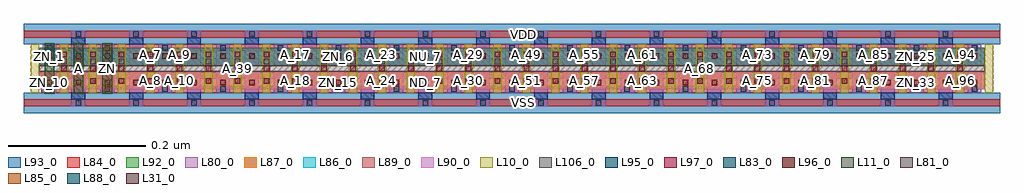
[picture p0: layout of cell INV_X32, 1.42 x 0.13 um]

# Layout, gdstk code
import gdstk
lib = gdstk.Library(unit=1e-6, precision=1e-09)
def R(c, l, rs):  # rectangles x0, y0, x1, y1
    for r in rs: c.add(gdstk.rectangle(r[:2], r[2:], *l))
def A(c, l, x, y, w, h, nx, ny, dx, dy):  # array of equal rectangles
    R(c, l, [(x+i*dx, y+j*dy, x+i*dx+w, y+j*dy+h) for i in range(nx) for j in range(ny)])
L10_0 = (10, 0)
L11_0 = (11, 0)
L31_0 = (31, 0)
L80_0 = (80, 0)
L81_0 = (81, 0)
L83_0 = (83, 0)
L84_0 = (84, 0)
L85_0 = (85, 0)
L86_0 = (86, 0)
L87_0 = (87, 0)
L88_0 = (88, 0)
L89_0 = (89, 0)
L90_0 = (90, 0)
L92_0 = (92, 0)
L93_0 = (93, 0)
L95_0 = (95, 0)
L96_0 = (96, 0)
L97_0 = (97, 0)
L106_0 = (106, 0)

inv_x32 = lib.new_cell('INV_X32')
A(inv_x32, L10_0, 0.034, 0.077, 0.012, 0.07, 34, 1, 0.042, 0)
A(inv_x32, L11_0, 0.054, 0.075, 0.014, 0.074, 3, 1, 0.042, 0)
R(inv_x32, L31_0, [(0.099,0.108,0.107,0.116), (0.141,0.108,0.149,0.116)])
A(inv_x32, L80_0, 0.093, 0.057, 0.02, 0.05, 16, 2, 0.084, 0.06)
A(inv_x32, L80_0, 0.051, 0.077, 0.02, 0.03, 17, 2, 0.084, 0.04)
A(inv_x32, L81_0, 0.078, 0.118, 0.008, 0.008, 32, 1, 0.042, 0)
A(inv_x32, L83_0, 0.099, 0.058, 0.008, 0.008, 16, 2, 0.084, 0.1)
A(inv_x32, L83_0, 0.057, 0.078, 0.008, 0.008, 10, 1, 0.084, 0)
A(inv_x32, L83_0, 0.981, 0.078, 0.008, 0.008, 6, 1, 0.084, 0)
A(inv_x32, L83_0, 0.057, 0.138, 0.008, 0.008, 17, 1, 0.084, 0)
R(inv_x32, L83_0, [(0.896,0.078,0.904,0.086)])
R(inv_x32, L84_0, [(0.024,0.057,1.442,0.067), (0.049,0.077,1.41,0.087), (0.049,0.097,1.41,0.107), (0.056,0.117,1.41,0.127), (0.056,0.137,1.41,0.147), (0.024,0.157,1.442,0.167)])
R(inv_x32, L85_0, [(0.141,0.078,0.149,0.086), (0.099,0.118,0.107,0.126), (0.141,0.138,0.149,0.146)])
R(inv_x32, L86_0, [(0.046,0.115,1.42,0.142)])
R(inv_x32, L87_0, [(0.046,0.082,1.42,0.109)])
R(inv_x32, L88_0, [(0.746,0.058,0.754,0.066), (0.746,0.158,0.754,0.166)])
R(inv_x32, L89_0, [(0.046,0.115,1.42,0.142)])
R(inv_x32, L90_0, [(0.046,0.082,1.42,0.109)])
R(inv_x32, L92_0, [(0.047,0.084,1.419,0.107), (0.047,0.117,1.419,0.14)])
R(inv_x32, L93_0, [(0.024,0.047,1.442,0.077), (0.024,0.147,1.442,0.177)])
A(inv_x32, L95_0, 0.093, 0.067, 0.02, 0.01, 16, 2, 0.084, 0.08)
A(inv_x32, L96_0, 0.057, 0.088, 0.008, 0.008, 33, 2, 0.042, 0.038)
A(inv_x32, L97_0, 0.078, 0.09, 0.008, 0.008, 32, 2, 0.042, 0.018)
A(inv_x32, L97_0, 0.078, 0.128, 0.008, 0.008, 32, 1, 0.042, 0)
R(inv_x32, L106_0, [(0.046,0.107,1.42,0.117)])
inv_x32.add(gdstk.Label('VSS', (0.75,0.062), layer=88, texttype=0))
inv_x32.add(gdstk.Label('VDD', (0.75,0.162), layer=88, texttype=0))
inv_x32.add(gdstk.Label('A', (0.103,0.112), layer=31, texttype=0))
inv_x32.add(gdstk.Label('ZN', (0.145,0.112), layer=31, texttype=0))
inv_x32.add(gdstk.Label('A_68', (1.006,0.112), layer=97, texttype=0))
inv_x32.add(gdstk.Label('A_69', (1.006,0.094), layer=97, texttype=0))
inv_x32.add(gdstk.Label('A_57', (0.838,0.094), layer=97, texttype=0))
inv_x32.add(gdstk.Label('A_56', (0.838,0.112), layer=97, texttype=0))
inv_x32.add(gdstk.Label('A_55', (0.838,0.132), layer=97, texttype=0))
inv_x32.add(gdstk.Label('A_60', (0.88,0.094), layer=97, texttype=0))
inv_x32.add(gdstk.Label('A_59', (0.88,0.112), layer=97, texttype=0))
inv_x32.add(gdstk.Label('A_58', (0.88,0.132), layer=97, texttype=0))
inv_x32.add(gdstk.Label('A_52', (0.796,0.132), layer=97, texttype=0))
inv_x32.add(gdstk.Label('A_53', (0.796,0.112), layer=97, texttype=0))
inv_x32.add(gdstk.Label('A_54', (0.796,0.094), layer=97, texttype=0))
inv_x32.add(gdstk.Label('A_49', (0.754,0.132), layer=97, texttype=0))
inv_x32.add(gdstk.Label('A_50', (0.754,0.112), layer=97, texttype=0))
inv_x32.add(gdstk.Label('A_51', (0.754,0.094), layer=97, texttype=0))
inv_x32.add(gdstk.Label('A_87', (1.258,0.094), layer=97, texttype=0))
inv_x32.add(gdstk.Label('A_86', (1.258,0.112), layer=97, texttype=0))
inv_x32.add(gdstk.Label('A_85', (1.258,0.132), layer=97, texttype=0))
inv_x32.add(gdstk.Label('A_90', (1.3,0.094), layer=97, texttype=0))
inv_x32.add(gdstk.Label('A_89', (1.3,0.112), layer=97, texttype=0))
inv_x32.add(gdstk.Label('A_88', (1.3,0.132), layer=97, texttype=0))
inv_x32.add(gdstk.Label('A_94', (1.384,0.132), layer=97, texttype=0))
inv_x32.add(gdstk.Label('A_95', (1.384,0.112), layer=97, texttype=0))
inv_x32.add(gdstk.Label('A_96', (1.384,0.094), layer=97, texttype=0))
inv_x32.add(gdstk.Label('A_91', (1.342,0.132), layer=97, texttype=0))
inv_x32.add(gdstk.Label('A_92', (1.342,0.112), layer=97, texttype=0))
inv_x32.add(gdstk.Label('A_93', (1.342,0.094), layer=97, texttype=0))
inv_x32.add(gdstk.Label('A_81', (1.174,0.094), layer=97, texttype=0))
inv_x32.add(gdstk.Label('A_80', (1.174,0.112), layer=97, texttype=0))
inv_x32.add(gdstk.Label('A_79', (1.174,0.132), layer=97, texttype=0))
inv_x32.add(gdstk.Label('A_84', (1.216,0.094), layer=97, texttype=0))
inv_x32.add(gdstk.Label('A_83', (1.216,0.112), layer=97, texttype=0))
inv_x32.add(gdstk.Label('A_82', (1.216,0.132), layer=97, texttype=0))
inv_x32.add(gdstk.Label('A_76', (1.132,0.132), layer=97, texttype=0))
inv_x32.add(gdstk.Label('A_77', (1.132,0.112), layer=97, texttype=0))
inv_x32.add(gdstk.Label('A_78', (1.132,0.094), layer=97, texttype=0))
inv_x32.add(gdstk.Label('A_73', (1.09,0.132), layer=97, texttype=0))
inv_x32.add(gdstk.Label('A_74', (1.09,0.112), layer=97, texttype=0))
inv_x32.add(gdstk.Label('A_75', (1.09,0.094), layer=97, texttype=0))
inv_x32.add(gdstk.Label('A_67', (1.006,0.132), layer=97, texttype=0))
inv_x32.add(gdstk.Label('A_72', (1.048,0.094), layer=97, texttype=0))
inv_x32.add(gdstk.Label('A_71', (1.048,0.112), layer=97, texttype=0))
inv_x32.add(gdstk.Label('A_70', (1.048,0.132), layer=97, texttype=0))
inv_x32.add(gdstk.Label('A_64', (0.964,0.132), layer=97, texttype=0))
inv_x32.add(gdstk.Label('A_65', (0.964,0.112), layer=97, texttype=0))
inv_x32.add(gdstk.Label('A_66', (0.964,0.094), layer=97, texttype=0))
inv_x32.add(gdstk.Label('A_61', (0.922,0.132), layer=97, texttype=0))
inv_x32.add(gdstk.Label('A_62', (0.922,0.112), layer=97, texttype=0))
inv_x32.add(gdstk.Label('A_63', (0.922,0.094), layer=97, texttype=0))
inv_x32.add(gdstk.Label('A_39', (0.334,0.112), layer=97, texttype=0))
inv_x32.add(gdstk.Label('A_14', (0.334,0.094), layer=97, texttype=0))
inv_x32.add(gdstk.Label('A_6', (0.166,0.094), layer=97, texttype=0))
inv_x32.add(gdstk.Label('A_35', (0.166,0.112), layer=97, texttype=0))
inv_x32.add(gdstk.Label('A_5', (0.166,0.132), layer=97, texttype=0))
inv_x32.add(gdstk.Label('A_8', (0.208,0.094), layer=97, texttype=0))
inv_x32.add(gdstk.Label('A_36', (0.208,0.112), layer=97, texttype=0))
inv_x32.add(gdstk.Label('A_10', (0.25,0.094), layer=97, texttype=0))
inv_x32.add(gdstk.Label('A_37', (0.25,0.112), layer=97, texttype=0))
inv_x32.add(gdstk.Label('A_9', (0.25,0.132), layer=97, texttype=0))
inv_x32.add(gdstk.Label('A_12', (0.292,0.094), layer=97, texttype=0))
inv_x32.add(gdstk.Label('A_38', (0.292,0.112), layer=97, texttype=0))
inv_x32.add(gdstk.Label('A_11', (0.292,0.132), layer=97, texttype=0))
inv_x32.add(gdstk.Label('A_15', (0.376,0.132), layer=97, texttype=0))
inv_x32.add(gdstk.Label('A_40', (0.376,0.112), layer=97, texttype=0))
inv_x32.add(gdstk.Label('A_16', (0.376,0.094), layer=97, texttype=0))
inv_x32.add(gdstk.Label('A_13', (0.334,0.132), layer=97, texttype=0))
inv_x32.add(gdstk.Label('A_18', (0.418,0.094), layer=97, texttype=0))
inv_x32.add(gdstk.Label('A_41', (0.418,0.112), layer=97, texttype=0))
inv_x32.add(gdstk.Label('A_17', (0.418,0.132), layer=97, texttype=0))
inv_x32.add(gdstk.Label('A_20', (0.46,0.094), layer=97, texttype=0))
inv_x32.add(gdstk.Label('A_42', (0.46,0.112), layer=97, texttype=0))
inv_x32.add(gdstk.Label('A_19', (0.46,0.132), layer=97, texttype=0))
inv_x32.add(gdstk.Label('A_23', (0.544,0.132), layer=97, texttype=0))
inv_x32.add(gdstk.Label('A_44', (0.544,0.112), layer=97, texttype=0))
inv_x32.add(gdstk.Label('A_24', (0.544,0.094), layer=97, texttype=0))
inv_x32.add(gdstk.Label('A_21', (0.502,0.132), layer=97, texttype=0))
inv_x32.add(gdstk.Label('A_43', (0.502,0.112), layer=97, texttype=0))
inv_x32.add(gdstk.Label('A_22', (0.502,0.094), layer=97, texttype=0))
inv_x32.add(gdstk.Label('A_30', (0.67,0.094), layer=97, texttype=0))
inv_x32.add(gdstk.Label('A_47', (0.67,0.112), layer=97, texttype=0))
inv_x32.add(gdstk.Label('A_29', (0.67,0.132), layer=97, texttype=0))
inv_x32.add(gdstk.Label('A_32', (0.712,0.094), layer=97, texttype=0))
inv_x32.add(gdstk.Label('A_48', (0.712,0.112), layer=97, texttype=0))
inv_x32.add(gdstk.Label('A_31', (0.712,0.132), layer=97, texttype=0))
inv_x32.add(gdstk.Label('A_27', (0.628,0.132), layer=97, texttype=0))
inv_x32.add(gdstk.Label('A_46', (0.628,0.112), layer=97, texttype=0))
inv_x32.add(gdstk.Label('A_28', (0.628,0.094), layer=97, texttype=0))
inv_x32.add(gdstk.Label('A_25', (0.586,0.132), layer=97, texttype=0))
inv_x32.add(gdstk.Label('A_45', (0.586,0.112), layer=97, texttype=0))
inv_x32.add(gdstk.Label('A_26', (0.586,0.094), layer=97, texttype=0))
inv_x32.add(gdstk.Label('A_2', (0.082,0.094), layer=97, texttype=0))
inv_x32.add(gdstk.Label('A_33', (0.082,0.112), layer=97, texttype=0))
inv_x32.add(gdstk.Label('A_1', (0.082,0.132), layer=97, texttype=0))
inv_x32.add(gdstk.Label('A_4', (0.124,0.094), layer=97, texttype=0))
inv_x32.add(gdstk.Label('A_34', (0.124,0.112), layer=97, texttype=0))
inv_x32.add(gdstk.Label('A_3', (0.124,0.132), layer=97, texttype=0))
inv_x32.add(gdstk.Label('A_7', (0.208,0.132), layer=97, texttype=0))
inv_x32.add(gdstk.Label('ND_9', (0.775,0.092), layer=96, texttype=0))
inv_x32.add(gdstk.Label('ND_12', (1.027,0.092), layer=96, texttype=0))
inv_x32.add(gdstk.Label('ZN_22', (1.069,0.13), layer=96, texttype=0))
inv_x32.add(gdstk.Label('ZN_30', (1.069,0.092), layer=96, texttype=0))
inv_x32.add(gdstk.Label('NU_13', (1.111,0.13), layer=96, texttype=0))
inv_x32.add(gdstk.Label('ND_13', (1.111,0.092), layer=96, texttype=0))
inv_x32.add(gdstk.Label('ZN_29', (0.985,0.092), layer=96, texttype=0))
inv_x32.add(gdstk.Label('ZN_21', (0.985,0.13), layer=96, texttype=0))
inv_x32.add(gdstk.Label('NU_12', (1.027,0.13), layer=96, texttype=0))
inv_x32.add(gdstk.Label('ZN_28', (0.901,0.092), layer=96, texttype=0))
inv_x32.add(gdstk.Label('ZN_20', (0.901,0.13), layer=96, texttype=0))
inv_x32.add(gdstk.Label('NU_11', (0.943,0.13), layer=96, texttype=0))
inv_x32.add(gdstk.Label('ND_11', (0.943,0.092), layer=96, texttype=0))
inv_x32.add(gdstk.Label('ND_10', (0.859,0.092), layer=96, texttype=0))
inv_x32.add(gdstk.Label('NU_10', (0.859,0.13), layer=96, texttype=0))
inv_x32.add(gdstk.Label('ZN_27', (0.817,0.092), layer=96, texttype=0))
inv_x32.add(gdstk.Label('ZN_19', (0.817,0.13), layer=96, texttype=0))
inv_x32.add(gdstk.Label('ZN_31', (1.153,0.092), layer=96, texttype=0))
inv_x32.add(gdstk.Label('ZN_23', (1.153,0.13), layer=96, texttype=0))
inv_x32.add(gdstk.Label('NU_14', (1.195,0.13), layer=96, texttype=0))
inv_x32.add(gdstk.Label('ND_14', (1.195,0.092), layer=96, texttype=0))
inv_x32.add(gdstk.Label('ZN_24', (1.237,0.13), layer=96, texttype=0))
inv_x32.add(gdstk.Label('ZN_32', (1.237,0.092), layer=96, texttype=0))
inv_x32.add(gdstk.Label('ZN_33', (1.321,0.092), layer=96, texttype=0))
inv_x32.add(gdstk.Label('ZN_25', (1.321,0.13), layer=96, texttype=0))
inv_x32.add(gdstk.Label('NU_15', (1.279,0.13), layer=96, texttype=0))
inv_x32.add(gdstk.Label('ND_15', (1.279,0.092), layer=96, texttype=0))
inv_x32.add(gdstk.Label('ZN_26', (1.405,0.13), layer=96, texttype=0))
inv_x32.add(gdstk.Label('NU_16', (1.363,0.13), layer=96, texttype=0))
inv_x32.add(gdstk.Label('ND_16', (1.363,0.092), layer=96, texttype=0))
inv_x32.add(gdstk.Label('NU_9', (0.775,0.13), layer=96, texttype=0))
inv_x32.add(gdstk.Label('ZN_34', (1.405,0.092), layer=96, texttype=0))
inv_x32.add(gdstk.Label('ZN_17', (0.649,0.092), layer=96, texttype=0))
inv_x32.add(gdstk.Label('NU_8', (0.691,0.13), layer=96, texttype=0))
inv_x32.add(gdstk.Label('ND_8', (0.691,0.092), layer=96, texttype=0))
inv_x32.add(gdstk.Label('ZN_9', (0.733,0.13), layer=96, texttype=0))
inv_x32.add(gdstk.Label('ZN_18', (0.733,0.092), layer=96, texttype=0))
inv_x32.add(gdstk.Label('ND_7', (0.607,0.092), layer=96, texttype=0))
inv_x32.add(gdstk.Label('NU_7', (0.607,0.13), layer=96, texttype=0))
inv_x32.add(gdstk.Label('ZN_8', (0.649,0.13), layer=96, texttype=0))
inv_x32.add(gdstk.Label('ND_6', (0.523,0.092), layer=96, texttype=0))
inv_x32.add(gdstk.Label('NU_6', (0.523,0.13), layer=96, texttype=0))
inv_x32.add(gdstk.Label('ZN_7', (0.565,0.13), layer=96, texttype=0))
inv_x32.add(gdstk.Label('ZN_16', (0.565,0.092), layer=96, texttype=0))
inv_x32.add(gdstk.Label('ZN_15', (0.481,0.092), layer=96, texttype=0))
inv_x32.add(gdstk.Label('ZN_6', (0.481,0.13), layer=96, texttype=0))
inv_x32.add(gdstk.Label('ND_5', (0.439,0.092), layer=96, texttype=0))
inv_x32.add(gdstk.Label('NU_5', (0.439,0.13), layer=96, texttype=0))
inv_x32.add(gdstk.Label('ZN_5', (0.397,0.13), layer=96, texttype=0))
inv_x32.add(gdstk.Label('ZN_14', (0.397,0.092), layer=96, texttype=0))
inv_x32.add(gdstk.Label('ZN_1', (0.061,0.13), layer=96, texttype=0))
inv_x32.add(gdstk.Label('ZN_10', (0.061,0.092), layer=96, texttype=0))
inv_x32.add(gdstk.Label('NU_1', (0.103,0.13), layer=96, texttype=0))
inv_x32.add(gdstk.Label('ND_1', (0.103,0.092), layer=96, texttype=0))
inv_x32.add(gdstk.Label('ND_2', (0.187,0.092), layer=96, texttype=0))
inv_x32.add(gdstk.Label('NU_2', (0.187,0.13), layer=96, texttype=0))
inv_x32.add(gdstk.Label('ZN_2', (0.145,0.13), layer=96, texttype=0))
inv_x32.add(gdstk.Label('ZN_11', (0.145,0.092), layer=96, texttype=0))
inv_x32.add(gdstk.Label('NU_3', (0.271,0.13), layer=96, texttype=0))
inv_x32.add(gdstk.Label('ZN_3', (0.229,0.13), layer=96, texttype=0))
inv_x32.add(gdstk.Label('ZN_12', (0.229,0.092), layer=96, texttype=0))
inv_x32.add(gdstk.Label('ND_4', (0.355,0.092), layer=96, texttype=0))
inv_x32.add(gdstk.Label('NU_4', (0.355,0.13), layer=96, texttype=0))
inv_x32.add(gdstk.Label('ZN_13', (0.313,0.092), layer=96, texttype=0))
inv_x32.add(gdstk.Label('ZN_4', (0.313,0.13), layer=96, texttype=0))
inv_x32.add(gdstk.Label('ND_3', (0.271,0.092), layer=96, texttype=0))

lib.write_gds('INV_X32.gds')
